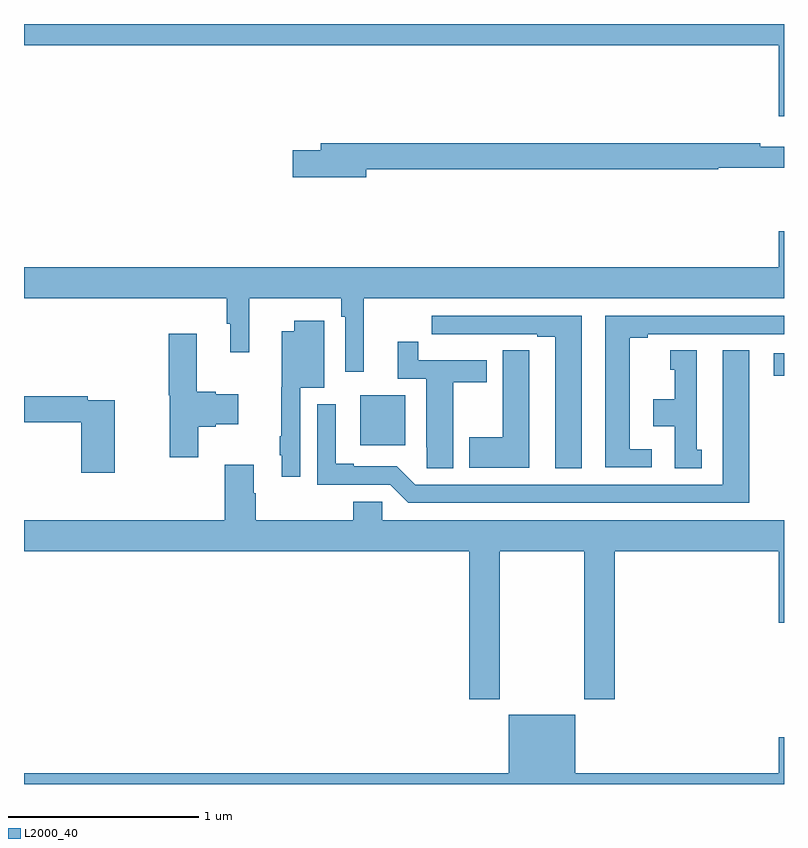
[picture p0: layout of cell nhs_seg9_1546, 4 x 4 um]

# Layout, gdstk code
import gdstk
lib = gdstk.Library(unit=1e-6, precision=1e-09)
def R(c, l, rs):  # rectangles x0, y0, x1, y1
    for r in rs: c.add(gdstk.rectangle(r[:2], r[2:], *l))
def P(c, l, *ps):  # polygons
    for p in ps: c.add(gdstk.Polygon(p, *l))
L2000_40 = (2000, 40)

nhs_seg9_1546 = lib.new_cell('nhs_seg9_1546')
R(nhs_seg9_1546, L2000_40, [(198.77,1226.282,199.006,1226.545), (200.946,1226.65,201,1226.766)])
P(nhs_seg9_1546, L2000_40, [(201,1228.5),(197,1228.5),(197,1228.388),(200.972,1228.388),(200.972,1228.014),(201,1228.014)],
  [(198.802,1227.736),(200.655,1227.736),(200.655,1227.744),(201,1227.744),(201,1227.853),(200.876,1227.853),(200.876,1227.872),(198.563,1227.872),(198.563,1227.836),(198.414,1227.836),(198.414,1227.694),(198.802,1227.694)],
  [(198.788,1227.056),(201,1227.056),(201,1227.409),(200.972,1227.409),(200.972,1227.22),(197,1227.22),(197,1227.056),(198.067,1227.056),(198.067,1226.922),(198.086,1226.922),(198.086,1226.772),(198.186,1226.772),(198.186,1227.056),(198.67,1227.056),(198.67,1226.96),(198.69,1226.96),(198.69,1226.67),(198.788,1226.67)],
  [(199.936,1226.964),(199.146,1226.964),(199.146,1226.868),(199.258,1226.868),(199.258,1226.867),(199.424,1226.867),(199.424,1226.868),(199.7,1226.868),(199.7,1226.853),(199.796,1226.853),(199.796,1226.161),(199.936,1226.161)],
  [(200.305,1226.262),(200.188,1226.262),(200.188,1226.848),(200.284,1226.848),(200.284,1226.868),(201,1226.868),(201,1226.964),(200.06,1226.964),(200.06,1226.166),(200.305,1226.166)],
  [(198.453,1226.585),(198.58,1226.585),(198.58,1226.938),(198.422,1226.938),(198.422,1226.884),(198.356,1226.884),(198.356,1226.589),(198.355,1226.589),(198.355,1226.33),(198.345,1226.33),(198.345,1226.23),(198.356,1226.23),(198.356,1226.118),(198.453,1226.118)],
  [(197.916,1226.381),(198.009,1226.381),(198.009,1226.393),(198.127,1226.393),(198.127,1226.551),(198.009,1226.551),(198.009,1226.564),(197.908,1226.564),(197.908,1226.869),(197.762,1226.869),(197.762,1226.547),(197.767,1226.547),(197.767,1226.22),(197.916,1226.22)],
  [(199.258,1226.614),(199.435,1226.614),(199.435,1226.73),(199.076,1226.73),(199.076,1226.827),(198.968,1226.827),(198.968,1226.634),(199.118,1226.634),(199.118,1226.272),(199.119,1226.272),(199.119,1226.161),(199.258,1226.161)],
  [(199.66,1226.675),(199.659,1226.675),(199.659,1226.783),(199.52,1226.783),(199.52,1226.325),(199.343,1226.325),(199.343,1226.165),(199.66,1226.165)],
  [(200.818,1226.782),(200.678,1226.782),(200.678,1226.076),(199.059,1226.076),(198.963,1226.172),(198.736,1226.172),(198.736,1226.185),(198.64,1226.185),(198.64,1226.5),(198.543,1226.5),(198.543,1226.076),(198.927,1226.076),(199.023,1225.98),(200.818,1225.98)],
  [(200.566,1226.259),(200.542,1226.259),(200.542,1226.782),(200.402,1226.782),(200.402,1226.679),(200.426,1226.679),(200.426,1226.524),(200.312,1226.524),(200.312,1226.384),(200.426,1226.384),(200.426,1226.161),(200.566,1226.161)],
  [(197.478,1226.52),(197.336,1226.52),(197.336,1226.54),(197,1226.54),(197,1226.404),(197.3,1226.404),(197.3,1226.139),(197.478,1226.139)],
  [(199.503,1225.724),(199.948,1225.724),(199.948,1224.945),(200.108,1224.945),(200.108,1225.724),(200.972,1225.724),(200.972,1225.35),(201,1225.35),(201,1225.888),(198.885,1225.888),(198.885,1225.986),(198.734,1225.986),(198.734,1225.888),(198.221,1225.888),(198.221,1226.03),(198.208,1226.03),(198.208,1226.179),(198.056,1226.179),(198.056,1225.888),(197,1225.888),(197,1225.724),(199.343,1225.724),(199.343,1224.945),(199.503,1224.945)],
  [(201,1224.745),(200.972,1224.745),(200.972,1224.556),(199.9,1224.556),(199.9,1224.865),(199.55,1224.865),(199.55,1224.556),(197,1224.556),(197,1224.5),(201,1224.5)])

lib.write_gds('nhs_seg9_1546.gds')
